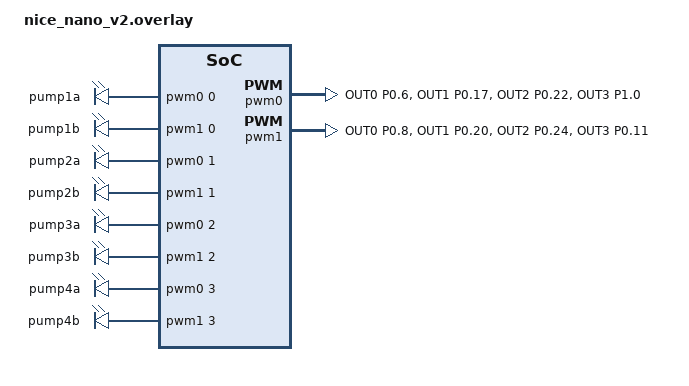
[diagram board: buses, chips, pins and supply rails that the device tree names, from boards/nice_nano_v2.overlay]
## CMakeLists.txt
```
cmake_minimum_required(VERSION 3.20.0)

find_package(Zephyr REQUIRED HINTS $ENV{ZEPHYR_BASE})

project(piscine_pump4)

target_sources(app PRIVATE src/main.c src/pump_pwm.c src/dosing.c src/zb_pump.c)
```

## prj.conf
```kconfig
CONFIG_ZIGBEE=y
CONFIG_ZIGBEE_ROLE_ROUTER=y
CONFIG_ZIGBEE_CHANNEL_SELECTION_MODE_MULTI=y
CONFIG_ZIGBEE_CHANNEL_MASK=0x07FFF800
CONFIG_ZIGBEE_APP_UTILS=y
CONFIG_PWM=y
CONFIG_LOG=y
CONFIG_LOG_BACKEND_RTT=y
CONFIG_USE_SEGGER_RTT=y
# Never block the log thread when no RTT host is attached
CONFIG_LOG_BACKEND_RTT_MODE_DROP=y
# Large RTT buffer so crash/assert messages survive until a debugger attaches
CONFIG_SEGGER_RTT_BUFFER_SIZE_UP=16384
# Console is RTT only; uart0 pins overlap pump 1 PWM (P0.06/P0.08)
CONFIG_SERIAL=n
CONFIG_UART_CONSOLE=n
CONFIG_CRYPTO=y
CONFIG_CRYPTO_NRF_ECB=y
CONFIG_RAM_POWER_DOWN_LIBRARY=n
# Zephyr IP stack must stay out of ZBOSS's radio (matches Nordic Zigbee samples)
CONFIG_NET_IPV6=n
CONFIG_NET_IP_ADDR_CHECK=n
CONFIG_NET_UDP=n
# No QSPI flash chip on nice!nano-compatible boards
CONFIG_NORDIC_QSPI_NOR=n
# No 32.768 kHz crystal on nice!nano/SuperMini clones — use the internal RC
# with calibration (DK default assumes XTAL; without the crystal the LFCLK
# runs on noise and MPSL asserts minutes after boot, killing the radio)
CONFIG_CLOCK_CONTROL_NRF_K32SRC_RC=y
CONFIG_CLOCK_CONTROL_NRF_K32SRC_500PPM=y
CONFIG_HEAP_MEM_POOL_SIZE=2048
CONFIG_SETTINGS=y
CONFIG_SETTINGS_NVS=y
CONFIG_NVS=y
CONFIG_FLASH=y
CONFIG_FLASH_MAP=y
```

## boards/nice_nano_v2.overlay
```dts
/ {
	pwmleds {
		compatible = "pwm-leds";

		pump1a: pump1a {
			pwms = <&pwm0 0 PWM_USEC(250) PWM_POLARITY_NORMAL>;
		};
		pump1b: pump1b {
			pwms = <&pwm1 0 PWM_USEC(250) PWM_POLARITY_NORMAL>;
		};
		pump2a: pump2a {
			pwms = <&pwm0 1 PWM_USEC(250) PWM_POLARITY_NORMAL>;
		};
		pump2b: pump2b {
			pwms = <&pwm1 1 PWM_USEC(250) PWM_POLARITY_NORMAL>;
		};
		pump3a: pump3a {
			pwms = <&pwm0 2 PWM_USEC(250) PWM_POLARITY_NORMAL>;
		};
		pump3b: pump3b {
			pwms = <&pwm1 2 PWM_USEC(250) PWM_POLARITY_NORMAL>;
		};
		pump4a: pump4a {
			pwms = <&pwm0 3 PWM_USEC(250) PWM_POLARITY_NORMAL>;
		};
		pump4b: pump4b {
			pwms = <&pwm1 3 PWM_USEC(250) PWM_POLARITY_NORMAL>;
		};
	};
};

&pwm0 {
	status = "okay";
	pinctrl-0 = <&pwm0_default>;
	pinctrl-names = "default";
};

&pwm1 {
	status = "okay";
	pinctrl-0 = <&pwm1_default>;
	pinctrl-names = "default";
};

&pinctrl {
	pwm0_default: pwm0_default {
		group1 {
			psels = <NRF_PSEL(PWM_OUT0, 0, 6)>,
				<NRF_PSEL(PWM_OUT1, 0, 17)>,
				<NRF_PSEL(PWM_OUT2, 0, 22)>,
				<NRF_PSEL(PWM_OUT3, 1, 0)>;
		};
	};

	pwm1_default: pwm1_default {
		group1 {
			psels = <NRF_PSEL(PWM_OUT0, 0, 8)>,
				<NRF_PSEL(PWM_OUT1, 0, 20)>,
				<NRF_PSEL(PWM_OUT2, 0, 24)>,
				<NRF_PSEL(PWM_OUT3, 0, 11)>;
		};
	};
};

/* Console is RTT; uart0 default pins (P0.06/P0.08) collide with pump 1 PWM */
&uart0 {
	status = "disabled";
};
```

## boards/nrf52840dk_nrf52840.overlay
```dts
/ {
	aliases {
		pump1a = &pump1a;
		pump1b = &pump1b;
		pump2a = &pump2a;
		pump2b = &pump2b;
		pump3a = &pump3a;
		pump3b = &pump3b;
		pump4a = &pump4a;
		pump4b = &pump4b;
	};

	pwmleds {
		compatible = "pwm-leds";

		pump1a: pump1a {
			pwms = <&pwm0 0 PWM_USEC(50) PWM_POLARITY_NORMAL>;
		};
		pump1b: pump1b {
			pwms = <&pwm1 0 PWM_USEC(50) PWM_POLARITY_NORMAL>;
		};
		pump2a: pump2a {
			pwms = <&pwm0 1 PWM_USEC(50) PWM_POLARITY_NORMAL>;
		};
		pump2b: pump2b {
			pwms = <&pwm1 1 PWM_USEC(50) PWM_POLARITY_NORMAL>;
		};
		pump3a: pump3a {
			pwms = <&pwm0 2 PWM_USEC(50) PWM_POLARITY_NORMAL>;
		};
		pump3b: pump3b {
			pwms = <&pwm1 2 PWM_USEC(50) PWM_POLARITY_NORMAL>;
		};
		pump4a: pump4a {
			pwms = <&pwm0 3 PWM_USEC(50) PWM_POLARITY_NORMAL>;
		};
		pump4b: pump4b {
			pwms = <&pwm1 3 PWM_USEC(50) PWM_POLARITY_NORMAL>;
		};
	};
};

&pwm0 {
	status = "okay";
	pinctrl-0 = <&pwm0_default>;
	pinctrl-1 = <&pwm0_sleep>;
	pinctrl-names = "default", "sleep";
};

&pwm1 {
	status = "okay";
	pinctrl-0 = <&pwm1_default>;
	pinctrl-1 = <&pwm1_sleep>;
	pinctrl-names = "default", "sleep";
};

&pinctrl {
	pwm0_default: pwm0_default {
		group1 {
			psels = <NRF_PSEL(PWM_OUT0, 0, 6)>,
				<NRF_PSEL(PWM_OUT1, 0, 17)>,
				<NRF_PSEL(PWM_OUT2, 0, 22)>,
				<NRF_PSEL(PWM_OUT3, 1, 0)>;
		};
	};

	pwm0_sleep: pwm0_sleep {
		group1 {
			psels = <NRF_PSEL(PWM_OUT0, 0, 6)>,
				<NRF_PSEL(PWM_OUT1, 0, 17)>,
				<NRF_PSEL(PWM_OUT2, 0, 22)>,
				<NRF_PSEL(PWM_OUT3, 1, 0)>;
			low-power-enable;
		};
	};

	pwm1_default: pwm1_default {
		group1 {
			psels = <NRF_PSEL(PWM_OUT0, 0, 8)>,
				<NRF_PSEL(PWM_OUT1, 0, 20)>,
				<NRF_PSEL(PWM_OUT2, 0, 24)>,
				<NRF_PSEL(PWM_OUT3, 0, 11)>;
		};
	};

	pwm1_sleep: pwm1_sleep {
		group1 {
			psels = <NRF_PSEL(PWM_OUT0, 0, 8)>,
				<NRF_PSEL(PWM_OUT1, 0, 20)>,
				<NRF_PSEL(PWM_OUT2, 0, 24)>,
				<NRF_PSEL(PWM_OUT3, 0, 11)>;
			low-power-enable;
		};
	};
};

/* Console is RTT; uart0 default pins (P0.06/P0.08) collide with pump 1 PWM */
&uart0 {
	status = "disabled";
};
```

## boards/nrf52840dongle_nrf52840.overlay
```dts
/ {
	aliases {
		pump1a = &pump1a;
		pump1b = &pump1b;
		pump2a = &pump2a;
		pump2b = &pump2b;
		pump3a = &pump3a;
		pump3b = &pump3b;
		pump4a = &pump4a;
		pump4b = &pump4b;
	};

	pwmleds {
		compatible = "pwm-leds";

		pump1a: pump1a {
			pwms = <&pwm0 0 PWM_USEC(250) PWM_POLARITY_NORMAL>;
		};
		pump1b: pump1b {
			pwms = <&pwm1 0 PWM_USEC(250) PWM_POLARITY_NORMAL>;
		};
		pump2a: pump2a {
			pwms = <&pwm0 1 PWM_USEC(250) PWM_POLARITY_NORMAL>;
		};
		pump2b: pump2b {
			pwms = <&pwm1 1 PWM_USEC(250) PWM_POLARITY_NORMAL>;
		};
		pump3a: pump3a {
			pwms = <&pwm0 2 PWM_USEC(250) PWM_POLARITY_NORMAL>;
		};
		pump3b: pump3b {
			pwms = <&pwm1 2 PWM_USEC(250) PWM_POLARITY_NORMAL>;
		};
		pump4a: pump4a {
			pwms = <&pwm0 3 PWM_USEC(250) PWM_POLARITY_NORMAL>;
		};
		pump4b: pump4b {
			pwms = <&pwm1 3 PWM_USEC(250) PWM_POLARITY_NORMAL>;
		};
	};
};

&pwm0 {
	status = "okay";
	pinctrl-0 = <&pwm0_default>;
	pinctrl-1 = <&pwm0_sleep>;
	pinctrl-names = "default", "sleep";
};

&pwm1 {
	status = "okay";
	pinctrl-0 = <&pwm1_default>;
	pinctrl-1 = <&pwm1_sleep>;
	pinctrl-names = "default", "sleep";
};

&pinctrl {
	pwm0_default: pwm0_default {
		group1 {
			psels = <NRF_PSEL(PWM_OUT0, 0, 6)>,
				<NRF_PSEL(PWM_OUT1, 0, 17)>,
				<NRF_PSEL(PWM_OUT2, 0, 22)>,
				<NRF_PSEL(PWM_OUT3, 1, 0)>;
		};
	};

	pwm0_sleep: pwm0_sleep {
		group1 {
			psels = <NRF_PSEL(PWM_OUT0, 0, 6)>,
				<NRF_PSEL(PWM_OUT1, 0, 17)>,
				<NRF_PSEL(PWM_OUT2, 0, 22)>,
				<NRF_PSEL(PWM_OUT3, 1, 0)>;
			low-power-enable;
		};
	};

	pwm1_default: pwm1_default {
		group1 {
			psels = <NRF_PSEL(PWM_OUT0, 0, 8)>,
				<NRF_PSEL(PWM_OUT1, 0, 20)>,
				<NRF_PSEL(PWM_OUT2, 0, 24)>,
				<NRF_PSEL(PWM_OUT3, 0, 11)>;
		};
	};

	pwm1_sleep: pwm1_sleep {
		group1 {
			psels = <NRF_PSEL(PWM_OUT0, 0, 8)>,
				<NRF_PSEL(PWM_OUT1, 0, 20)>,
				<NRF_PSEL(PWM_OUT2, 0, 24)>,
				<NRF_PSEL(PWM_OUT3, 0, 11)>;
			low-power-enable;
		};
	};
};

/* Console is RTT; uart0 default pins (P0.06/P0.08) collide with pump 1 PWM */
&uart0 {
	status = "disabled";
};
```

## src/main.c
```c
#include <zephyr/kernel.h>
#include <zephyr/drivers/gpio.h>
#include <zephyr/logging/log.h>
#include <zboss_api.h>
#include <zboss_api_addons.h>
#include <zb_mem_config_med.h>
#include <zigbee/zigbee_app_utils.h>
#include <zb_nrf_platform.h>

#include "pump_pwm.h"
#include "dosing.h"
#include "zb_pump.h"

LOG_MODULE_REGISTER(piscine, LOG_LEVEL_INF);

/* Dosing event info for marshalling to Zigbee thread */
typedef struct {
	uint8_t idx;           /* Pump index 0-3 */
	uint16_t remaining_s;  /* Remaining dose time */
	uint8_t running;       /* 1 if running, 0 if stopped */
} dosing_event_t;

/* Storage for pending dosing event (only one at a time per pump) */
static dosing_event_t pending_events[4];

/* Callback function to be executed in Zigbee thread context */
static void dosing_event_handler(zb_bufid_t bufid)
{
	(void)bufid; /* Unused */

	/* Process pending events for all pumps */
	for (uint8_t idx = 0; idx < 4; idx++) {
		dosing_event_t *event = &pending_events[idx];
		uint8_t ep = idx + 1; /* Convert pump index to endpoint */

		LOG_INF("Dosing event in Zigbee context: pump %d, remaining %d s, running %d",
			idx, event->remaining_s, event->running);

		/* Update OnOff attribute (0x0006 cluster) */
		ZB_ZCL_SET_ATTRIBUTE(
			ep,
			ZB_ZCL_CLUSTER_ID_ON_OFF,
			ZB_ZCL_CLUSTER_SERVER_ROLE,
			ZB_ZCL_ATTR_ON_OFF_ON_OFF_ID,
			(zb_uint8_t *)&event->running,
			ZB_TRUE);

		/* Update dose_remaining_s attribute (0xFC00 custom cluster, attr 0x0002) */
		ZB_ZCL_SET_ATTRIBUTE(
			ep,
			PUMP_CLUSTER_ID,
			ZB_ZCL_CLUSTER_SERVER_ROLE,
			PUMP_ATTR_DOSE_REMAINING_S,
			(zb_uint8_t *)&event->remaining_s,
			ZB_TRUE);
	}
}

/* Dosing event callback - bridges dosing thread to Zigbee context */
static void dosing_callback(uint8_t idx, uint16_t remaining_s, bool running)
{
	LOG_DBG("Dosing callback: pump %d, remaining %d s, running %d", idx, remaining_s, running);

	/* Store event data */
	if (idx < 4) {
		pending_events[idx].idx = idx;
		pending_events[idx].remaining_s = remaining_s;
		pending_events[idx].running = (uint8_t)running;

		/* Schedule callback on Zigbee thread */
		ZB_SCHEDULE_APP_CALLBACK(dosing_event_handler, 0);
	}
}

void zboss_signal_handler(zb_bufid_t bufid)
{
	/* Handle Zigbee signals using NCS default handler */
	zb_ret_t zb_err_code = zigbee_default_signal_handler(bufid);

	if (zb_err_code != RET_OK) {
		LOG_WRN("Zigbee signal handler error: %d", zb_err_code);
	}

	if (bufid) {
		zb_buf_free(bufid);
	}
}

int main(void)
{
	int err;

	LOG_INF("piscine pump4 boot");

	/* USB-powered (VDDH) boards: factory/erased UICR REGOUT0 leaves the
	 * GPIO rail at 1.8 V, too low for L298N logic-high. Program 3.3 V
	 * once and reset (same approach as Nordic's nrf52840dongle board). */
	if ((NRF_UICR->REGOUT0 & UICR_REGOUT0_VOUT_Msk) !=
	    (UICR_REGOUT0_VOUT_3V3 << UICR_REGOUT0_VOUT_Pos)) {
		NRF_NVMC->CONFIG = NVMC_CONFIG_WEN_Wen;
		while (!NRF_NVMC->READY) {
		}
		NRF_UICR->REGOUT0 =
			(NRF_UICR->REGOUT0 & ~UICR_REGOUT0_VOUT_Msk) |
			(UICR_REGOUT0_VOUT_3V3 << UICR_REGOUT0_VOUT_Pos);
		while (!NRF_NVMC->READY) {
		}
		NRF_NVMC->CONFIG = NVMC_CONFIG_WEN_Ren;
		while (!NRF_NVMC->READY) {
		}
		LOG_WRN("UICR REGOUT0 set to 3.3 V, resetting");
		NVIC_SystemReset();
	}

	/* SuperMini nRF52840: P0.13 gates the external 3V3/VCC rail
	 * (low = off). Latch it high so the VCC pin is powered. */
	err = gpio_pin_configure(DEVICE_DT_GET(DT_NODELABEL(gpio0)), 13,
				 GPIO_OUTPUT_HIGH);
	if (err) {
		LOG_WRN("ext-VCC enable (P0.13) failed: %d", err);
	}

	/* Initialize pump PWM driver */
	err = pump_pwm_init();
	if (err) {
		LOG_ERR("pump_pwm_init failed: %d", err);
		return err;
	}

	/* Initialize dosing engine with callback */
	err = dosing_init(dosing_callback);
	if (err) {
		LOG_ERR("dosing_init failed: %d", err);
		return err;
	}

	/* Initialize Zigbee pump layer (registers device context and clusters) */
	err = zb_pump_init();
	if (err) {
		LOG_ERR("zb_pump_init failed: %d", err);
		return err;
	}

	/* Start Zigbee thread and enable the stack */
	zigbee_enable();

	LOG_INF("piscine pump4 initialized");

	/* Main loop */
	while (1) {
		k_sleep(K_SECONDS(1));
	}

	return 0;
}
```

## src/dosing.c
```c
#include <zephyr/kernel.h>
#include <zephyr/logging/log.h>
#include "dosing.h"
#include "pump_pwm.h"

LOG_MODULE_REGISTER(dosing, LOG_LEVEL_INF);

#define PUMP_COUNT 4
#define MIN_DURATION_S 1
#define MAX_DURATION_S 3600
#define MAX_DUTY 254

struct pump_state {
	struct k_timer timer;
	struct k_work work;
	uint16_t remaining_s;
	uint8_t duty;
	enum pump_dir dir;
	bool active;
};

static struct pump_state pump_states[PUMP_COUNT];
static struct k_mutex dosing_mutex;
static dosing_event_cb_t dosing_cb;

/* Work handler: runs in system workqueue context */
static void dosing_work_handler(struct k_work *work)
{
	struct pump_state *state = CONTAINER_OF(work, struct pump_state, work);
	uint8_t idx = state - pump_states;
	dosing_event_cb_t cb;

	k_mutex_lock(&dosing_mutex, K_FOREVER);

	if (!state->active) {
		k_mutex_unlock(&dosing_mutex);
		return;
	}

	/* Decrement remaining time */
	state->remaining_s--;

	/* Invoke callback outside the lock */
	cb = dosing_cb;
	k_mutex_unlock(&dosing_mutex);

	if (cb) {
		cb(idx, state->remaining_s, true);
	}

	/* Check if we've reached zero */
	k_mutex_lock(&dosing_mutex, K_FOREVER);
	if (state->remaining_s == 0) {
		pump_stop(idx);
		state->active = false;
		cb = dosing_cb;
		k_mutex_unlock(&dosing_mutex);

		if (cb) {
			cb(idx, 0, false);
		}
	} else {
		k_mutex_unlock(&dosing_mutex);
	}
}

/* Timer expiry handler: runs in ISR context, submits work to workqueue */
static void dosing_timer_expiry(struct k_timer *timer)
{
	struct pump_state *state = CONTAINER_OF(timer, struct pump_state, timer);
	k_work_submit(&state->work);
}

int dosing_init(dosing_event_cb_t cb)
{
	int ret;

	dosing_cb = cb;

	/* Initialize mutex */
	ret = k_mutex_init(&dosing_mutex);
	if (ret != 0) {
		return ret;
	}

	/* Initialize per-pump state */
	for (int i = 0; i < PUMP_COUNT; i++) {
		k_timer_init(&pump_states[i].timer, dosing_timer_expiry, NULL);
		k_work_init(&pump_states[i].work, dosing_work_handler);
		pump_states[i].remaining_s = 0;
		pump_states[i].active = false;
	}

	return 0;
}

int dosing_start(uint8_t idx, uint16_t duration_s, uint8_t duty, enum pump_dir dir)
{
	int ret;

	if (idx >= PUMP_COUNT) {
		return -EINVAL;
	}

	/* Clamp duration to [1, 3600] */
	if (duration_s < MIN_DURATION_S) {
		duration_s = MIN_DURATION_S;
	} else if (duration_s > MAX_DURATION_S) {
		duration_s = MAX_DURATION_S;
	}

	/* Duty 1-254 all run (pump_pwm maps onto 50-100%); 0 stops/pauses */
	if (duty > MAX_DUTY) {
		duty = MAX_DUTY;
	}

	k_mutex_lock(&dosing_mutex, K_FOREVER);

	struct pump_state *state = &pump_states[idx];

	/* Call pump_set with the clamped values */
	ret = pump_set(idx, dir, duty);
	if (ret != 0) {
		k_mutex_unlock(&dosing_mutex);
		return ret;
	}

	/* Set state */
	state->remaining_s = duration_s;
	state->duty = duty;
	state->dir = dir;
	state->active = (duty > 0);

	if (state->active) {
		/* Start the timer with 1 second period */
		k_timer_start(&state->timer, K_SECONDS(1), K_SECONDS(1));
	} else {
		/* If duty was clamped to 0, stop any running timer */
		k_timer_stop(&state->timer);
	}

	k_mutex_unlock(&dosing_mutex);

	return 0;
}

int dosing_run(uint8_t idx, uint8_t duty, enum pump_dir dir)
{
	return dosing_start(idx, MAX_DURATION_S, duty, dir);
}

int dosing_abort(uint8_t idx)
{
	dosing_event_cb_t cb;

	if (idx >= PUMP_COUNT) {
		return -EINVAL;
	}

	k_mutex_lock(&dosing_mutex, K_FOREVER);

	struct pump_state *state = &pump_states[idx];
	bool was_active = state->active;

	/* Stop timer */
	k_timer_stop(&state->timer);

	/* Stop pump */
	pump_stop(idx);

	/* Clear state */
	state->active = false;
	state->remaining_s = 0;

	cb = dosing_cb;
	k_mutex_unlock(&dosing_mutex);

	/* Invoke callback only if it was active */
	if (was_active && cb) {
		cb(idx, 0, false);
	}

	return 0;
}

uint16_t dosing_remaining(uint8_t idx)
{
	uint16_t remaining;

	if (idx >= PUMP_COUNT) {
		return 0;
	}

	k_mutex_lock(&dosing_mutex, K_FOREVER);
	remaining = pump_states[idx].remaining_s;
	k_mutex_unlock(&dosing_mutex);

	return remaining;
}

bool dosing_active(uint8_t idx)
{
	bool active;

	if (idx >= PUMP_COUNT) {
		return false;
	}

	k_mutex_lock(&dosing_mutex, K_FOREVER);
	active = pump_states[idx].active;
	k_mutex_unlock(&dosing_mutex);

	return active;
}
```

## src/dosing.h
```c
#ifndef DOSING_H
#define DOSING_H

#include <stdint.h>
#include <stdbool.h>
#include "pump_pwm.h"

typedef void (*dosing_event_cb_t)(uint8_t idx, uint16_t remaining_s, bool running);

int dosing_init(dosing_event_cb_t cb);
int dosing_start(uint8_t idx, uint16_t duration_s, uint8_t duty, enum pump_dir dir);
int dosing_run(uint8_t idx, uint8_t duty, enum pump_dir dir);   /* = dosing_start(idx, 3600, ...) */
int dosing_abort(uint8_t idx);
uint16_t dosing_remaining(uint8_t idx);
bool dosing_active(uint8_t idx);

#endif /* DOSING_H */
```

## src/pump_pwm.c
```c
#include <zephyr/kernel.h>
#include <zephyr/drivers/pwm.h>
#include <zephyr/logging/log.h>

#include "pump_pwm.h"

LOG_MODULE_REGISTER(pump_pwm, LOG_LEVEL_INF);

/* PWM spec for each channel */
static const struct pwm_dt_spec pump_specs[PUMP_COUNT][2] = {
	{
		PWM_DT_SPEC_GET(DT_ALIAS(pump1a)),
		PWM_DT_SPEC_GET(DT_ALIAS(pump1b)),
	},
	{
		PWM_DT_SPEC_GET(DT_ALIAS(pump2a)),
		PWM_DT_SPEC_GET(DT_ALIAS(pump2b)),
	},
	{
		PWM_DT_SPEC_GET(DT_ALIAS(pump3a)),
		PWM_DT_SPEC_GET(DT_ALIAS(pump3b)),
	},
	{
		PWM_DT_SPEC_GET(DT_ALIAS(pump4a)),
		PWM_DT_SPEC_GET(DT_ALIAS(pump4b)),
	},
};

/* State tracking per pump */
struct pump_state {
	bool running;
	enum pump_dir dir;
};

static struct pump_state pump_states[PUMP_COUNT] = {0};

int pump_pwm_init(void)
{
	int ret;

	/* Verify all 8 PWM channels are ready */
	for (int i = 0; i < PUMP_COUNT; i++) {
		if (!pwm_is_ready_dt(&pump_specs[i][0])) {
			LOG_ERR("Pump %d pin A not ready", i);
			return -ENODEV;
		}
		if (!pwm_is_ready_dt(&pump_specs[i][1])) {
			LOG_ERR("Pump %d pin B not ready", i);
			return -ENODEV;
		}
	}

	/* Set all channels to 0% duty (stopped) */
	for (int i = 0; i < PUMP_COUNT; i++) {
		ret = pwm_set_dt(&pump_specs[i][0], pump_specs[i][0].period, 0);
		if (ret != 0) {
			LOG_ERR("Failed to set pump %d pin A to 0: %d", i, ret);
			return ret;
		}

		ret = pwm_set_dt(&pump_specs[i][1], pump_specs[i][1].period, 0);
		if (ret != 0) {
			LOG_ERR("Failed to set pump %d pin B to 0: %d", i, ret);
			return ret;
		}

		pump_states[i].running = false;
		pump_states[i].dir = PUMP_DIR_FORWARD;
	}

	LOG_INF("Pump PWM initialized");
	return 0;
}

int pump_set(uint8_t idx, enum pump_dir dir, uint8_t duty)
{
	int ret;
	uint32_t pulse;

	if (idx >= PUMP_COUNT) {
		return -EINVAL;
	}

	/* Level 0 = stop */
	if (duty == 0) {
		return pump_stop(idx);
	}

	/* Motors only move from ~50% duty: map level 1..254 linearly onto
	 * 50%..100% of the period (level 1 -> 50%, level 254 -> 100%) */
	{
		uint32_t period = pump_specs[idx][0].period;
		uint32_t half = period / 2;

		pulse = half + (uint32_t)(duty - 1) * (period - half) / 253;
	}

	/* If currently running in opposite direction, stop, sleep, then apply */
	if (pump_states[idx].running && pump_states[idx].dir != dir) {
		LOG_INF("Pump %d direction change from %d to %d, stopping first", idx, pump_states[idx].dir, dir);
		pump_stop(idx);
		k_msleep(50);
	}

	if (dir == PUMP_DIR_FORWARD) {
		/* Forward: pin A at duty, pin B at 0 */
		ret = pwm_set_dt(&pump_specs[idx][0], pump_specs[idx][0].period, pulse);
		if (ret != 0) {
			LOG_ERR("Failed to set pump %d pin A: %d", idx, ret);
			return ret;
		}

		ret = pwm_set_dt(&pump_specs[idx][1], pump_specs[idx][1].period, 0);
		if (ret != 0) {
			LOG_ERR("Failed to set pump %d pin B to 0: %d", idx, ret);
			return ret;
		}
	} else {
		/* Reverse: pin A at 0, pin B at duty */
		ret = pwm_set_dt(&pump_specs[idx][0], pump_specs[idx][0].period, 0);
		if (ret != 0) {
			LOG_ERR("Failed to set pump %d pin A to 0: %d", idx, ret);
			return ret;
		}

		ret = pwm_set_dt(&pump_specs[idx][1], pump_specs[idx][1].period, pulse);
		if (ret != 0) {
			LOG_ERR("Failed to set pump %d pin B: %d", idx, ret);
			return ret;
		}
	}

	pump_states[idx].running = true;
	pump_states[idx].dir = dir;

	LOG_INF("Pump %d started: dir=%d, duty=%d", idx, dir, duty);

	return 0;
}

int pump_stop(uint8_t idx)
{
	int ret;

	if (idx >= PUMP_COUNT) {
		return -EINVAL;
	}

	/* Set both pins to 0% duty */
	ret = pwm_set_dt(&pump_specs[idx][0], pump_specs[idx][0].period, 0);
	if (ret != 0) {
		LOG_ERR("Failed to set pump %d pin A to 0: %d", idx, ret);
		return ret;
	}

	ret = pwm_set_dt(&pump_specs[idx][1], pump_specs[idx][1].period, 0);
	if (ret != 0) {
		LOG_ERR("Failed to set pump %d pin B to 0: %d", idx, ret);
		return ret;
	}

	if (pump_states[idx].running) {
		LOG_INF("Pump %d stopped", idx);
	}

	pump_states[idx].running = false;

	return 0;
}

bool pump_is_running(uint8_t idx)
{
	if (idx >= PUMP_COUNT) {
		return false;
	}

	return pump_states[idx].running;
}
```

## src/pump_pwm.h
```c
#ifndef PUMP_PWM_H
#define PUMP_PWM_H

#include <stdint.h>
#include <stdbool.h>

#define PUMP_COUNT 4

enum pump_dir { PUMP_DIR_FORWARD = 0, PUMP_DIR_REVERSE = 1 };

/* Init all channels, force all pumps stopped. Call first in main(). */
int pump_pwm_init(void);

/* Run pump idx (0..3) at duty 0..254 in dir. duty < 20% of 254 (i.e. < 51) -> stop.
 * If direction differs from current running direction: stop, k_msleep(50), then start. */
int pump_set(uint8_t idx, enum pump_dir dir, uint8_t duty);

/* Both pins low. Idempotent. Safe from ISR? NO - thread context only. */
int pump_stop(uint8_t idx);

bool pump_is_running(uint8_t idx);

#endif /* PUMP_PWM_H */
```

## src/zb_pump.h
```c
#ifndef ZB_PUMP_H
#define ZB_PUMP_H

#include <stdint.h>
#include <stdbool.h>

/* Pump custom cluster ID and manufacturer code */
#define PUMP_CLUSTER_ID			0xFC00
#define PUMP_CLUSTER_MANUF_CODE		0x1234

/* Pump custom cluster attribute IDs */
#define PUMP_ATTR_DIRECTION		0x0000
#define PUMP_ATTR_DOSE_DURATION_S	0x0001
#define PUMP_ATTR_DOSE_REMAINING_S	0x0002
#define PUMP_ATTR_FILL_TIME_1L_MIN_S	0x0003
#define PUMP_ATTR_FILL_TIME_1L_MAX_S	0x0004

/* Pump custom cluster command IDs */
#define PUMP_CMD_START_DOSE		0x00
#define PUMP_CMD_STOP_DOSE		0x01

/* For use in main.c dosing event marshalling */
#include "dosing.h"

/* Initialize pump Zigbee integration */
int zb_pump_init(void);

#endif /* ZB_PUMP_H */
```
